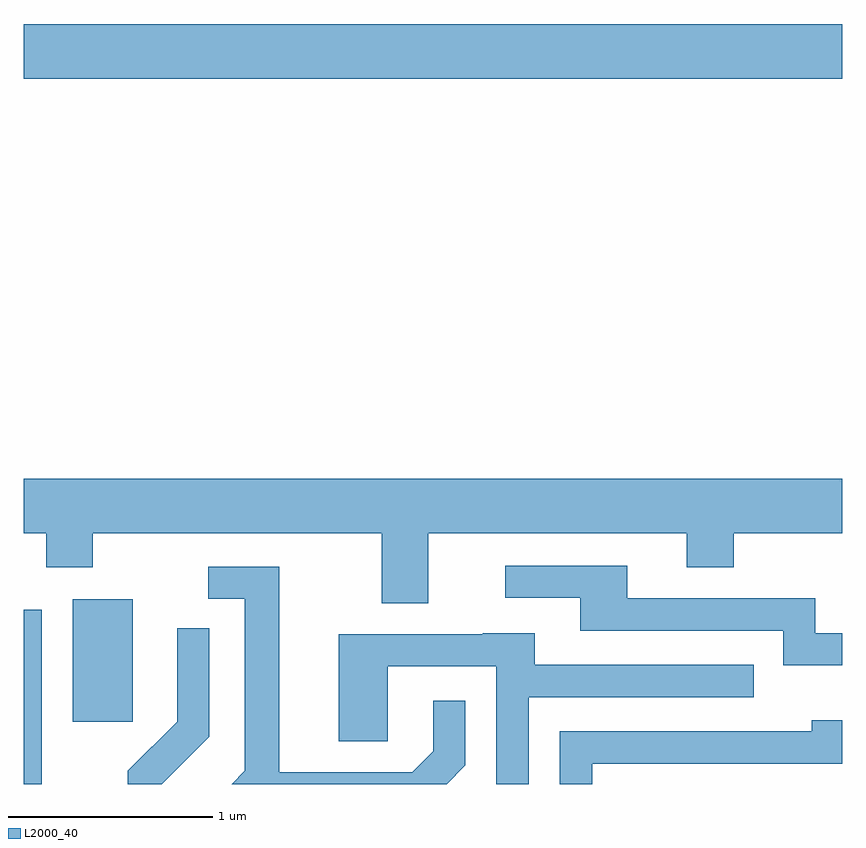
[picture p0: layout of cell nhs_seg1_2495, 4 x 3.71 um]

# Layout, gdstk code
import gdstk
lib = gdstk.Library(unit=1e-6, precision=1e-09)
def R(c, l, rs):  # rectangles x0, y0, x1, y1
    for r in rs: c.add(gdstk.rectangle(r[:2], r[2:], *l))
def P(c, l, *ps):  # polygons
    for p in ps: c.add(gdstk.Polygon(p, *l))
L2000_40 = (2000, 40)

nhs_seg1_2495 = lib.new_cell('nhs_seg1_2495')
R(nhs_seg1_2495, L2000_40, [(261.611,871.712,261.699,872.564), (261.851,872.016,262.144,872.614), (261.611,875.156,265.611,875.424)])
P(nhs_seg1_2495, L2000_40, [(263.589,872.936),(264.851,872.936),(264.851,872.771),(265.079,872.771),(265.079,872.936),(265.611,872.936),(265.611,873.204),(261.611,873.204),(261.611,872.936),(261.721,872.936),(261.721,872.771),(261.949,872.771),(261.949,872.936),(263.361,872.936),(263.361,872.596),(263.589,872.596)],
  [(265.611,872.449),(265.479,872.449),(265.479,872.619),(264.559,872.619),(264.559,872.779),(263.963,872.779),(263.963,872.621),(264.331,872.621),(264.331,872.461),(265.321,872.461),(265.321,872.291),(265.611,872.291)],
  [(263.769,871.804),(263.769,872.118),(263.611,872.118),(263.611,871.872),(263.509,871.769),(262.859,871.769),(262.859,872.774),(262.513,872.774),(262.513,872.616),(262.691,872.616),(262.691,871.777),(262.627,871.712),(263.677,871.712)],
  [(262.519,871.944),(262.519,872.473),(262.361,872.473),(262.361,872.017),(262.121,871.777),(262.121,871.712),(262.287,871.712)],
  [(264.079,872.136),(265.178,872.136),(265.178,872.294),(264.109,872.294),(264.109,872.449),(263.855,872.449),(263.855,872.444),(263.151,872.444),(263.151,871.921),(263.389,871.921),(263.389,872.286),(263.921,872.286),(263.921,871.712),(264.079,871.712)],
  [(264.389,871.811),(265.611,871.811),(265.611,872.024),(265.461,872.024),(265.461,871.969),(264.231,871.969),(264.231,871.712),(264.389,871.712)])

lib.write_gds('nhs_seg1_2495.gds')
